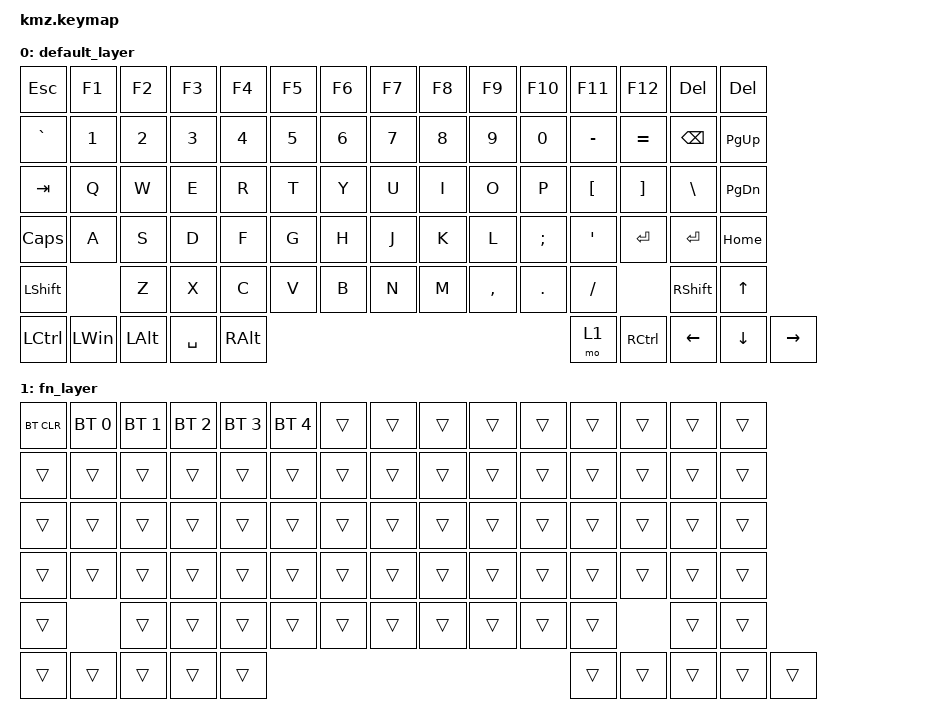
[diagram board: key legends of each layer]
#include <behaviors.dtsi>
#include <dt-bindings/zmk/keys.h>
#include <dt-bindings/zmk/bt.h>

/ {
    keymap {
        compatible = "zmk,keymap";

        default_layer {
            // Standard 75% Layout (83 Keys)
            bindings = <
                &kp ESC   &kp F1    &kp F2    &kp F3    &kp F4    &kp F5    &kp F6    &kp F7    &kp F8    &kp F9    &kp F10   &kp F11   &kp F12   &kp DEL &kp DEL
                &kp GRAVE &kp N1    &kp N2    &kp N3    &kp N4    &kp N5    &kp N6    &kp N7    &kp N8    &kp N9    &kp N0    &kp MINUS &kp EQUAL &kp BSPC  &kp PG_UP
                &kp TAB   &kp Q     &kp W     &kp E     &kp R     &kp T     &kp Y     &kp U     &kp I     &kp O     &kp P     &kp LBKT  &kp RBKT  &kp BSLH  &kp PG_DN
                &kp CAPS  &kp A     &kp S     &kp D     &kp F     &kp G     &kp H     &kp J     &kp K     &kp L     &kp SEMI  &kp SQT   &kp RET   &kp ENTER &kp HOME
                &kp LSHFT           &kp Z     &kp X     &kp C     &kp V     &kp B     &kp N     &kp M     &kp COMMA &kp DOT   &kp FSLH            &kp RSHFT &kp UP
                &kp LCTRL &kp LWIN  &kp LALT                                &kp SPACE                               &kp RALT  &mo 1     &kp RCTRL &kp LEFT  &kp DOWN  &kp RIGHT
            >;
        };
        
        fn_layer {
            bindings = <
                &bt BT_CLR &bt BT_SEL 0 &bt BT_SEL 1 &bt BT_SEL 2 &bt BT_SEL 3 &bt BT_SEL 4 &trans &trans &trans &trans &trans &trans &trans &trans &trans
                &trans     &trans       &trans       &trans       &trans       &trans       &trans &trans &trans &trans &trans &trans &trans &trans &trans
                &trans     &trans       &trans       &trans       &trans       &trans       &trans &trans &trans &trans &trans &trans &trans &trans &trans
                &trans     &trans       &trans       &trans       &trans       &trans       &trans &trans &trans &trans &trans &trans &trans &trans &trans
                &trans                  &trans       &trans       &trans       &trans       &trans &trans &trans &trans &trans &trans        &trans &trans
                &trans     &trans       &trans                                              &trans                             &trans &trans &trans &trans &trans &trans
            >;
        };
    };
};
